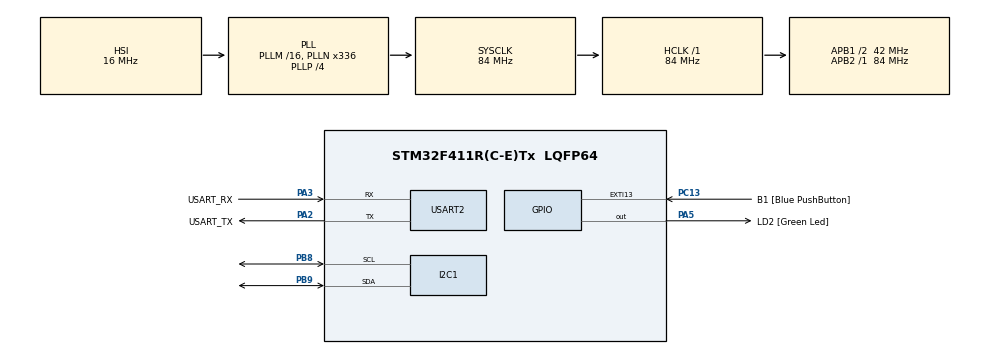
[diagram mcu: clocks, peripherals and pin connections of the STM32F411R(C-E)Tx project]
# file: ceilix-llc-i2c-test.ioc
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I2C1.OwnAddress=0x20
Mcu.Family=STM32F4
Mcu.Name=STM32F411R(C-E)Tx
Mcu.Package=LQFP64
NVIC.PriorityGroup=NVIC_PRIORITYGROUP_0
PA13.GPIO_Label=TMS
PA13.Mode=Serial_Wire
PA13.Signal=SYS_JTMS-SWDIO
PA14.GPIO_Label=TCK
PA14.Mode=Serial_Wire
PA14.Signal=SYS_JTCK-SWCLK
PA2.GPIO_Label=USART_TX
PA2.Mode=Asynchronous
PA2.Signal=USART2_TX
PA3.GPIO_Label=USART_RX
PA3.Mode=Asynchronous
PA3.Signal=USART2_RX
PA5.GPIO_Label=LD2 [Green Led]
PA5.Signal=GPIO_Output
PB3.GPIO_Label=SWO
PB3.Signal=SYS_JTDO-SWO
PB8.Mode=I2C
PB8.Signal=I2C1_SCL
PB9.Mode=I2C
PB9.Signal=I2C1_SDA
PC13-ANTI_TAMP.GPIO_Label=B1 [Blue PushButton]
PC13-ANTI_TAMP.GPIO_ModeDefaultEXTI=GPIO_MODE_IT_FALLING
PC13-ANTI_TAMP.Signal=GPXTI13
PC14-OSC32_IN.Mode=LSE-External-Oscillator
PC14-OSC32_IN.Signal=RCC_OSC32_IN
PC15-OSC32_OUT.Mode=LSE-External-Oscillator
PC15-OSC32_OUT.Signal=RCC_OSC32_OUT
PH0\ -\ OSC_IN.Mode=HSE-External-Clock-Source
PH0\ -\ OSC_IN.Signal=RCC_OSC_IN
PH1\ -\ OSC_OUT.Mode=HSE-External-Clock-Source
PH1\ -\ OSC_OUT.Signal=RCC_OSC_OUT
ProjectManager.HeapSize=0x200
ProjectManager.StackSize=0x400
ProjectManager.TargetToolchain=STM32CubeIDE
RCC.48MHZClocksFreq_Value=84000000
RCC.AHBFreq_Value=84000000
RCC.APB1CLKDivider=RCC_HCLK_DIV2
RCC.APB1Freq_Value=42000000
RCC.APB1TimFreq_Value=84000000
RCC.APB2Freq_Value=84000000
RCC.APB2TimFreq_Value=84000000
RCC.CortexFreq_Value=84000000
RCC.FLatency-AdvancedSettings=FLASH_LATENCY_2
RCC.HCLKFreq_Value=84000000
RCC.HSE_VALUE=8000000
RCC.HSI_VALUE=16000000
RCC.PLLN=336
RCC.PLLP=RCC_PLLP_DIV4
RCC.SYSCLKFreq_VALUE=84000000
RCC.SYSCLKSource=RCC_SYSCLKSOURCE_PLLCLK
RCC.VCOOutputFreq_Value=336000000
USART2.VirtualMode=VM_ASYNC
board=NUCLEO-F411RE

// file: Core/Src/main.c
/* USER CODE BEGIN Header */
/**
 ******************************************************************************
 * @file           : main.c
 * @brief          : Main program body
 ******************************************************************************
 * @attention
 *
 * Copyright (c) 2024 STMicroelectronics.
 * All rights reserved.
 *
 * This software is licensed under terms that can be found in the LICENSE file
 * in the root directory of this software component.
 * If no LICENSE file comes with this software, it is provided AS-IS.
 *
 ******************************************************************************
 */
/* USER CODE END Header */
#include "main.h"

I2C_HandleTypeDef hi2c1;

UART_HandleTypeDef huart2;

/* USER CODE BEGIN PV */

// This is a 7bit device addr, saving it in 8bit variable, need to shift right?
static const uint8_t DEVICE_ADDR = 0x20 << 1;
static const uint8_t REG_ADDR = 0x00;

/* USER CODE END PV */

void SystemClock_Config(void);
static void MX_GPIO_Init(void);
static void MX_USART2_UART_Init(void);
static void MX_I2C1_Init(void);

int main(void) {

  /* USER CODE BEGIN 1 */
  HAL_StatusTypeDef ret;
  uint8_t buf[12];
  int16_t val;
  float temp_c;

  /* USER CODE END 1 */

  /* MCU Configuration--------------------------------------------------------*/

  /* Reset of all peripherals, Initializes the Flash interface and the Systick.
   */
  HAL_Init();

  /* Configure the system clock */
  SystemClock_Config();

  /* Initialize all configured peripherals */
  MX_GPIO_Init();
  MX_USART2_UART_Init();
  MX_I2C1_Init();

  /* Infinite loop */
  /* USER CODE BEGIN WHILE */
  while (1) {

    // How many bytes to be sent = 1
    // ret = HAL_I2C_Master_Transmit(&hi2c1, DEVICE_ADDR, buf, 1,
    // HAL_MAX_DELAY); if (ret != HAL_OK) {
    //   strcpy((char *)buf, "Error Tx\r\n");
    // } else {

    // Read 2 bytes from temperature register

    // }

    //    buf[0] = REG_ADDR;

    uint8_t my_buf[8];
    HAL_StatusTypeDef my_ret =
        HAL_I2C_Slave_Receive(&hi2c1, my_buf, sizeof(my_buf), HAL_MAX_DELAY);
    if (my_ret == HAL_OK) {
      strcpy((char *)buf, "Everything ok\r\n");

      //sleep for my_buf[0] in seconds

      // uint8_t resp[] = {0x55, 0xAA};
      // HAL_I2C_Slave_Transmit(&hi2c1, resp, 2, HAL_MAX_DELAY);

    } else if (my_ret == HAL_ERROR) {
      strcpy((char *)buf, "HAL_ERR\r\n");

    } else {
      strcpy((char *)buf, "Somethign else\r\n");
    }

    HAL_GPIO_TogglePin(GPIOA, GPIO_PIN_5);
    // HAL_Delay(3000);
    /* USER CODE END WHILE */

  }
}

void SystemClock_Config(void) {
  RCC_OscInitTypeDef RCC_OscInitStruct = {0};
  RCC_ClkInitTypeDef RCC_ClkInitStruct = {0};

  /** Configure the main internal regulator output voltage
   */
  __HAL_RCC_PWR_CLK_ENABLE();
  __HAL_PWR_VOLTAGESCALING_CONFIG(PWR_REGULATOR_VOLTAGE_SCALE1);

  /** Initializes the RCC Oscillators according to the specified parameters
   * in the RCC_OscInitTypeDef structure.
   */
  RCC_OscInitStruct.OscillatorType = RCC_OSCILLATORTYPE_HSI;
  RCC_OscInitStruct.HSIState = RCC_HSI_ON;
  RCC_OscInitStruct.HSICalibrationValue = RCC_HSICALIBRATION_DEFAULT;
  RCC_OscInitStruct.PLL.PLLState = RCC_PLL_ON;
  RCC_OscInitStruct.PLL.PLLSource = RCC_PLLSOURCE_HSI;
  RCC_OscInitStruct.PLL.PLLM = 16;
  RCC_OscInitStruct.PLL.PLLN = 336;
  RCC_OscInitStruct.PLL.PLLP = RCC_PLLP_DIV4;
  RCC_OscInitStruct.PLL.PLLQ = 4;
  if (HAL_RCC_OscConfig(&RCC_OscInitStruct) != HAL_OK) {
    Error_Handler();
  }

  /** Initializes the CPU, AHB and APB buses clocks
   */
  RCC_ClkInitStruct.ClockType = RCC_CLOCKTYPE_HCLK | RCC_CLOCKTYPE_SYSCLK |
                                RCC_CLOCKTYPE_PCLK1 | RCC_CLOCKTYPE_PCLK2;
  RCC_ClkInitStruct.SYSCLKSource = RCC_SYSCLKSOURCE_PLLCLK;
  RCC_ClkInitStruct.AHBCLKDivider = RCC_SYSCLK_DIV1;
  RCC_ClkInitStruct.APB1CLKDivider = RCC_HCLK_DIV2;
  RCC_ClkInitStruct.APB2CLKDivider = RCC_HCLK_DIV1;

  if (HAL_RCC_ClockConfig(&RCC_ClkInitStruct, FLASH_LATENCY_2) != HAL_OK) {
    Error_Handler();
  }
}

static void MX_I2C1_Init(void) {

  hi2c1.Instance = I2C1;
  hi2c1.Init.ClockSpeed = 100000;
  hi2c1.Init.DutyCycle = I2C_DUTYCYCLE_2;
  hi2c1.Init.OwnAddress1 = 64;
  hi2c1.Init.AddressingMode = I2C_ADDRESSINGMODE_7BIT;
  hi2c1.Init.DualAddressMode = I2C_DUALADDRESS_DISABLE;
  hi2c1.Init.OwnAddress2 = 0;
  hi2c1.Init.GeneralCallMode = I2C_GENERALCALL_DISABLE;
  hi2c1.Init.NoStretchMode = I2C_NOSTRETCH_DISABLE;
  if (HAL_I2C_Init(&hi2c1) != HAL_OK) {
    Error_Handler();
  }
}

static void MX_USART2_UART_Init(void) {

  huart2.Instance = USART2;
  huart2.Init.BaudRate = 115200;
  huart2.Init.WordLength = UART_WORDLENGTH_8B;
  huart2.Init.StopBits = UART_STOPBITS_1;
  huart2.Init.Parity = UART_PARITY_NONE;
  huart2.Init.Mode = UART_MODE_TX_RX;
  huart2.Init.HwFlowCtl = UART_HWCONTROL_NONE;
  huart2.Init.OverSampling = UART_OVERSAMPLING_16;
  if (HAL_UART_Init(&huart2) != HAL_OK) {
    Error_Handler();
  }
}

static void MX_GPIO_Init(void) {
  GPIO_InitTypeDef GPIO_InitStruct = {0};

  /* GPIO Ports Clock Enable */
  __HAL_RCC_GPIOC_CLK_ENABLE();
  __HAL_RCC_GPIOH_CLK_ENABLE();
  __HAL_RCC_GPIOA_CLK_ENABLE();
  __HAL_RCC_GPIOB_CLK_ENABLE();

  /*Configure GPIO pin Output Level */
  HAL_GPIO_WritePin(LD2_GPIO_Port, LD2_Pin, GPIO_PIN_RESET);

  /*Configure GPIO pin : B1_Pin */
  GPIO_InitStruct.Pin = B1_Pin;
  GPIO_InitStruct.Mode = GPIO_MODE_IT_FALLING;
  GPIO_InitStruct.Pull = GPIO_NOPULL;
  HAL_GPIO_Init(B1_GPIO_Port, &GPIO_InitStruct);

  /*Configure GPIO pin : LD2_Pin */
  GPIO_InitStruct.Pin = LD2_Pin;
  GPIO_InitStruct.Mode = GPIO_MODE_OUTPUT_PP;
  GPIO_InitStruct.Pull = GPIO_NOPULL;
  GPIO_InitStruct.Speed = GPIO_SPEED_FREQ_LOW;
  HAL_GPIO_Init(LD2_GPIO_Port, &GPIO_InitStruct);

}

void Error_Handler(void) {
  __disable_irq();
  while (1) {
  }
}

#ifdef USE_FULL_ASSERT
/**
 * @brief  Reports the name of the source file and the source line number
 *         where the assert_param error has occurred.
 * @param  file: pointer to the source file name
 * @param  line: assert_param error line source number
 * @retval None
 */
void assert_failed(uint8_t *file, uint32_t line) {
  /* USER CODE BEGIN 6 */
  /* User can add his own implementation to report the file name and line
     number, ex: printf("Wrong parameters value: file %s on line %d\r\n", file,
     line) */
  /* USER CODE END 6 */
}
#endif /* USE_FULL_ASSERT */
